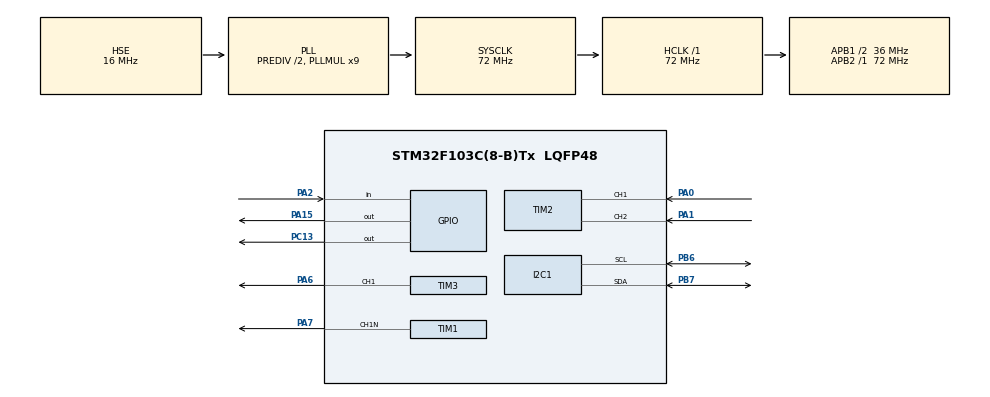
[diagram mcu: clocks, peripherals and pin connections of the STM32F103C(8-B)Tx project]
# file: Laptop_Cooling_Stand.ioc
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Dma.Request0=TIM3_CH1/TRIG
Dma.TIM3_CH1/TRIG.0.Direction=DMA_MEMORY_TO_PERIPH
Dma.TIM3_CH1/TRIG.0.Instance=DMA1_Channel6
Dma.TIM3_CH1/TRIG.0.MemDataAlignment=DMA_MDATAALIGN_HALFWORD
Dma.TIM3_CH1/TRIG.0.MemInc=DMA_MINC_ENABLE
Dma.TIM3_CH1/TRIG.0.Mode=DMA_NORMAL
Dma.TIM3_CH1/TRIG.0.PeriphDataAlignment=DMA_PDATAALIGN_HALFWORD
Dma.TIM3_CH1/TRIG.0.PeriphInc=DMA_PINC_DISABLE
Dma.TIM3_CH1/TRIG.0.Priority=DMA_PRIORITY_LOW
I2C1.I2C_Mode=I2C_Fast
Mcu.Family=STM32F1
Mcu.Name=STM32F103C(8-B)Tx
Mcu.Package=LQFP48
NVIC.DMA1_Channel6_IRQn=true\:0\:0\:false\:false\:true\:false\:true\:true
NVIC.PriorityGroup=NVIC_PRIORITYGROUP_4
NVIC.TIM1_UP_IRQn=true\:0\:0\:false\:false\:true\:true\:true\:true
NVIC.TIM3_IRQn=true\:0\:0\:false\:false\:true\:true\:true\:true
PA0-WKUP.Signal=S_TIM2_CH1_ETR
PA1.Signal=S_TIM2_CH2
PA13.Mode=Serial_Wire
PA13.Signal=SYS_JTMS-SWDIO
PA14.Mode=Serial_Wire
PA14.Signal=SYS_JTCK-SWCLK
PA15.Signal=GPIO_Output
PA2.Signal=GPIO_Input
PA6.Signal=S_TIM3_CH1
PA7.Mode=PWM Generation1 CH1N
PA7.Signal=TIM1_CH1N
PB6.GPIO_Pu=GPIO_PULLUP
PB6.Mode=I2C
PB6.Signal=I2C1_SCL
PB7.GPIO_Pu=GPIO_PULLUP
PB7.Mode=I2C
PB7.Signal=I2C1_SDA
PC13-TAMPER-RTC.Signal=GPIO_Output
PD0-OSC_IN.Mode=HSE-External-Oscillator
PD0-OSC_IN.Signal=RCC_OSC_IN
PD1-OSC_OUT.Mode=HSE-External-Oscillator
PD1-OSC_OUT.Signal=RCC_OSC_OUT
ProjectManager.HeapSize=0x200
ProjectManager.StackSize=0x400
ProjectManager.TargetToolchain=STM32CubeIDE
RCC.AHBFreq_Value=72000000
RCC.APB1CLKDivider=RCC_HCLK_DIV2
RCC.APB1Freq_Value=36000000
RCC.APB1TimFreq_Value=72000000
RCC.APB2Freq_Value=72000000
RCC.APB2TimFreq_Value=72000000
RCC.HCLKFreq_Value=72000000
RCC.HSEDivPLL=RCC_HSE_PREDIV_DIV2
RCC.HSE_VALUE=16000000
RCC.PLLMUL=RCC_PLL_MUL9
RCC.PLLSourceVirtual=RCC_PLLSOURCE_HSE
RCC.SYSCLKFreq_VALUE=72000000
RCC.SYSCLKSource=RCC_SYSCLKSOURCE_PLLCLK
RCC.USBFreq_Value=72000000
SH.S_TIM2_CH1_ETR.0=TIM2_CH1,Encoder_Interface
SH.S_TIM2_CH2.0=TIM2_CH2,Encoder_Interface
SH.S_TIM3_CH1.0=TIM3_CH1,PWM Generation1 CH1
TIM1.AutoReloadPreload=TIM_AUTORELOAD_PRELOAD_ENABLE
TIM1.Channel-PWM\ Generation1\ CH1N=TIM_CHANNEL_1
TIM1.OCNPolarity_1=TIM_OCNPOLARITY_LOW
TIM1.Period=65535
TIM1.Prescaler=0
TIM1.TIM_MasterOutputTrigger=TIM_TRGO_UPDATE
TIM2.AutoReloadPreload=TIM_AUTORELOAD_PRELOAD_ENABLE
TIM2.IC1Filter=10
TIM3.Channel-PWM\ Generation1\ CH1=TIM_CHANNEL_1
TIM3.Period=90-1
TIM3.Prescaler=0
VP_TIM1_VS_ClockSourceINT.Mode=Internal
board=custom

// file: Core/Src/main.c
/* USER CODE BEGIN Header */
/**
  ******************************************************************************
  * @file           : main.c
  * @author			: Marcus Lechner
  * @brief          : Main program body
  ******************************************************************************
  * @attention
  *
  * <h2><center>&copy; Copyright (c) 2021 STMicroelectronics.
  * All rights reserved.</center></h2>
  *
  * This software component is licensed by ST under BSD 3-Clause license,
  * the "License"; You may not use this file except in compliance with the
  * License. You may obtain a copy of the License at:
  *                        opensource.org/licenses/BSD-3-Clause
  *
  ******************************************************************************
  */
  /* NOTES
  * */

/* USER CODE END Header */
#include "main.h"

/* USER CODE BEGIN Includes */
#include <stdio.h>
#include <string.h>
#include "fonts.h"
#include "oled.h"
#include "gfx.h"
#include "HDW_ENCODER.h"
#include "ftoa.h"
#include "APP_DISPLAY.h"
#include "HDW_LED.h"
#include "HDW_FAN.h"
#include "HDW_BME280.h"
#include "SYS_TIMER.h"

/* USER CODE END Includes */

/* USER CODE BEGIN PD */
#define LED_ON 0		//for debugging purposes
#define LED_OFF 1		//for debugging purposes
#define NUM_MESSAGES 11	//number of messages we will be displaying
#define PRECISION 2		//precision for message floats
/* USER CODE END PD */

I2C_HandleTypeDef hi2c1;

TIM_HandleTypeDef htim1;
TIM_HandleTypeDef htim2;
TIM_HandleTypeDef htim3;
DMA_HandleTypeDef hdma_tim3_ch1_trig;

/* USER CODE BEGIN PV */
							//encoder counter, starts on 11 (Total Charge)
uint8_t startup = 1;							//startup function flag
uint16_t intData = 0;							//integer data from message
uint8_t batteryConnected[3] = {0,0,0};			//array of booleans if battery is connected or not, used for total charge calculation
				//for window tab functionality, denotes which tab you are on
//uint32_t elapsed_time;							//used for non interference delay
uint32_t elapsed_time_screen_refresh;			//used for refreshing screen every so often
uint32_t elapsed_time_data_refresh;     	 	//used for refreshing data every so often
uint8_t dataReceived = 0;
uint8_t customWDGflag = 0;  					//my own custom watch dog
//necessary constructor use

uint32_t TxMailbox;

uint8_t RxData[8];			//data received from CAN
uint8_t TxData[8];			//data sent from CAN
uint8_t intArray[2];		//Array that holds bytes data from the CAN message for the integer
uint8_t temp_byte[4];		//temporary Array that holds bytes data from the CAN message for the float
uint8_t current_byte[4];	//temporary Array that holds bytes data from the CAN message for the float

struct Message 			//CAN message struct
{
	char name[16];		//Name to be displayed
	char display[16];	//Message to be display
	uint32_t id;		// Message ID, for debugging use
	float data;			//data in the form a float
};

struct Message message[NUM_MESSAGES]; //initialize struct array

float totalCharge = 0;		//total charge of all batteries

uint8_t msgNum = 0;		//Used to easily add on new messages, instead of changing the number on each message just change msgNum
/* USER CODE END PV */

void SystemClock_Config(void);
static void MX_GPIO_Init(void);
static void MX_DMA_Init(void);
static void MX_I2C1_Init(void);
static void MX_TIM2_Init(void);
static void MX_TIM1_Init(void);
static void MX_TIM3_Init(void);
/* USER CODE BEGIN PFP */

float bytes2Float(uint8_t *bytes_array);	//converts bytes to float data type
uint16_t bytes2Int(uint8_t *bytes_array);	//converts bytes to integer data type

/* USER CODE END PFP */

/* USER CODE BEGIN 0 */

TIM_Encoder_InitTypeDef encoder;
TIM_HandleTypeDef timer;

//void send(int green, int red, int blue)

/* USER CODE END 0 */

int main(void)
{

  /* MCU Configuration--------------------------------------------------------*/

  /* Reset of all peripherals, Initializes the Flash interface and the Systick. */
  HAL_Init();

  /* USER CODE BEGIN Init */
  	//Message names, 16 chars MAX
	SYS_TIMER_init();

	HDW_ENCODER_Config();  // configure the encoders timer
	HDW_ENCODER_Init();

//	HDW_LED_Config();  // configure the encoders timer
	HDW_LED_Init();

	  // start the encoders timer

  /* USER CODE END Init */

  /* Configure the system clock */
  SystemClock_Config();

  /* Initialize all configured peripherals */
  MX_GPIO_Init();
  MX_DMA_Init();
  MX_I2C1_Init();
  MX_TIM2_Init();
  MX_TIM1_Init();
  MX_TIM3_Init();
  /* USER CODE BEGIN 2 */

  HAL_Delay(2500);
  BME280_Config(OSRS_2, OSRS_16, OSRS_1, MODE_NORMAL, T_SB_0p5, IIR_16);
  oled_init(); //oled init after significant delay needed because oled needs a sec to power up

  APP_DISPLAY_init();
  HDW_FAN_init();
//  HAL_TIM_Base_Start_IT(&htim1);
  HAL_TIM_PWM_Start(&htim1, TIM_CHANNEL_1);
  HAL_TIMEx_PWMN_Start(&htim1, TIM_CHANNEL_1);
//  elapsed_time = HAL_GetTick();
  elapsed_time_screen_refresh = HAL_GetTick();		//used for refreshing screen every so often
  elapsed_time_data_refresh = HAL_GetTick();

//  HAL_GPIO_WritePin(GPIOA, GPIO_PIN_15, GPIO_PIN_SET);

  /* USER CODE END 2 */

  /* Infinite loop */
  while (1)
  {

    /* USER CODE BEGIN 3 */
	HDW_ENCODER_process();
	APP_DISPLAY_process();
	HDW_FAN_process();
	HDW_LED_process();
	HDW_BME280_process();

  }
  /* USER CODE END 3 */
}

void SystemClock_Config(void)
{
  RCC_OscInitTypeDef RCC_OscInitStruct = {0};
  RCC_ClkInitTypeDef RCC_ClkInitStruct = {0};

  /** Initializes the RCC Oscillators according to the specified parameters
  * in the RCC_OscInitTypeDef structure.
  */
  RCC_OscInitStruct.OscillatorType = RCC_OSCILLATORTYPE_HSE;
  RCC_OscInitStruct.HSEState = RCC_HSE_ON;
  RCC_OscInitStruct.HSEPredivValue = RCC_HSE_PREDIV_DIV2;
  RCC_OscInitStruct.HSIState = RCC_HSI_ON;
  RCC_OscInitStruct.PLL.PLLState = RCC_PLL_ON;
  RCC_OscInitStruct.PLL.PLLSource = RCC_PLLSOURCE_HSE;
  RCC_OscInitStruct.PLL.PLLMUL = RCC_PLL_MUL9;
  if (HAL_RCC_OscConfig(&RCC_OscInitStruct) != HAL_OK)
  {
    Error_Handler();
  }

  /** Initializes the CPU, AHB and APB buses clocks
  */
  RCC_ClkInitStruct.ClockType = RCC_CLOCKTYPE_HCLK|RCC_CLOCKTYPE_SYSCLK
                              |RCC_CLOCKTYPE_PCLK1|RCC_CLOCKTYPE_PCLK2;
  RCC_ClkInitStruct.SYSCLKSource = RCC_SYSCLKSOURCE_PLLCLK;
  RCC_ClkInitStruct.AHBCLKDivider = RCC_SYSCLK_DIV1;
  RCC_ClkInitStruct.APB1CLKDivider = RCC_HCLK_DIV2;
  RCC_ClkInitStruct.APB2CLKDivider = RCC_HCLK_DIV1;

  if (HAL_RCC_ClockConfig(&RCC_ClkInitStruct, FLASH_LATENCY_2) != HAL_OK)
  {
    Error_Handler();
  }
}

static void MX_I2C1_Init(void)
{

  hi2c1.Instance = I2C1;
  hi2c1.Init.ClockSpeed = 400000;
  hi2c1.Init.DutyCycle = I2C_DUTYCYCLE_2;
  hi2c1.Init.OwnAddress1 = 0;
  hi2c1.Init.AddressingMode = I2C_ADDRESSINGMODE_7BIT;
  hi2c1.Init.DualAddressMode = I2C_DUALADDRESS_DISABLE;
  hi2c1.Init.OwnAddress2 = 0;
  hi2c1.Init.GeneralCallMode = I2C_GENERALCALL_DISABLE;
  hi2c1.Init.NoStretchMode = I2C_NOSTRETCH_DISABLE;
  if (HAL_I2C_Init(&hi2c1) != HAL_OK)
  {
    Error_Handler();
  }

}

static void MX_TIM1_Init(void)
{

  TIM_ClockConfigTypeDef sClockSourceConfig = {0};
  TIM_MasterConfigTypeDef sMasterConfig = {0};
  TIM_OC_InitTypeDef sConfigOC = {0};
  TIM_BreakDeadTimeConfigTypeDef sBreakDeadTimeConfig = {0};

  htim1.Instance = TIM1;
  htim1.Init.Prescaler = 0;
  htim1.Init.CounterMode = TIM_COUNTERMODE_UP;
  htim1.Init.Period = 65535;
  htim1.Init.ClockDivision = TIM_CLOCKDIVISION_DIV1;
  htim1.Init.RepetitionCounter = 0;
  htim1.Init.AutoReloadPreload = TIM_AUTORELOAD_PRELOAD_ENABLE;
  if (HAL_TIM_Base_Init(&htim1) != HAL_OK)
  {
    Error_Handler();
  }
  sClockSourceConfig.ClockSource = TIM_CLOCKSOURCE_INTERNAL;
  if (HAL_TIM_ConfigClockSource(&htim1, &sClockSourceConfig) != HAL_OK)
  {
    Error_Handler();
  }
  if (HAL_TIM_PWM_Init(&htim1) != HAL_OK)
  {
    Error_Handler();
  }
  sMasterConfig.MasterOutputTrigger = TIM_TRGO_UPDATE;
  sMasterConfig.MasterSlaveMode = TIM_MASTERSLAVEMODE_DISABLE;
  if (HAL_TIMEx_MasterConfigSynchronization(&htim1, &sMasterConfig) != HAL_OK)
  {
    Error_Handler();
  }
  sConfigOC.OCMode = TIM_OCMODE_PWM1;
  sConfigOC.Pulse = 0;
  sConfigOC.OCPolarity = TIM_OCPOLARITY_HIGH;
  sConfigOC.OCNPolarity = TIM_OCNPOLARITY_LOW;
  sConfigOC.OCFastMode = TIM_OCFAST_DISABLE;
  sConfigOC.OCIdleState = TIM_OCIDLESTATE_RESET;
  sConfigOC.OCNIdleState = TIM_OCNIDLESTATE_RESET;
  if (HAL_TIM_PWM_ConfigChannel(&htim1, &sConfigOC, TIM_CHANNEL_1) != HAL_OK)
  {
    Error_Handler();
  }
  sBreakDeadTimeConfig.OffStateRunMode = TIM_OSSR_DISABLE;
  sBreakDeadTimeConfig.OffStateIDLEMode = TIM_OSSI_DISABLE;
  sBreakDeadTimeConfig.LockLevel = TIM_LOCKLEVEL_OFF;
  sBreakDeadTimeConfig.DeadTime = 0;
  sBreakDeadTimeConfig.BreakState = TIM_BREAK_DISABLE;
  sBreakDeadTimeConfig.BreakPolarity = TIM_BREAKPOLARITY_HIGH;
  sBreakDeadTimeConfig.AutomaticOutput = TIM_AUTOMATICOUTPUT_DISABLE;
  if (HAL_TIMEx_ConfigBreakDeadTime(&htim1, &sBreakDeadTimeConfig) != HAL_OK)
  {
    Error_Handler();
  }
  HAL_TIM_MspPostInit(&htim1);

}

static void MX_TIM2_Init(void)
{

  TIM_Encoder_InitTypeDef sConfig = {0};
  TIM_MasterConfigTypeDef sMasterConfig = {0};

  htim2.Instance = TIM2;
  htim2.Init.Prescaler = 0;
  htim2.Init.CounterMode = TIM_COUNTERMODE_UP;
  htim2.Init.Period = 65535;
  htim2.Init.ClockDivision = TIM_CLOCKDIVISION_DIV1;
  htim2.Init.AutoReloadPreload = TIM_AUTORELOAD_PRELOAD_ENABLE;
  sConfig.EncoderMode = TIM_ENCODERMODE_TI1;
  sConfig.IC1Polarity = TIM_ICPOLARITY_RISING;
  sConfig.IC1Selection = TIM_ICSELECTION_DIRECTTI;
  sConfig.IC1Prescaler = TIM_ICPSC_DIV1;
  sConfig.IC1Filter = 10;
  sConfig.IC2Polarity = TIM_ICPOLARITY_RISING;
  sConfig.IC2Selection = TIM_ICSELECTION_DIRECTTI;
  sConfig.IC2Prescaler = TIM_ICPSC_DIV1;
  sConfig.IC2Filter = 0;
  if (HAL_TIM_Encoder_Init(&htim2, &sConfig) != HAL_OK)
  {
    Error_Handler();
  }
  sMasterConfig.MasterOutputTrigger = TIM_TRGO_RESET;
  sMasterConfig.MasterSlaveMode = TIM_MASTERSLAVEMODE_DISABLE;
  if (HAL_TIMEx_MasterConfigSynchronization(&htim2, &sMasterConfig) != HAL_OK)
  {
    Error_Handler();
  }

}

static void MX_TIM3_Init(void)
{

  TIM_MasterConfigTypeDef sMasterConfig = {0};
  TIM_OC_InitTypeDef sConfigOC = {0};

  htim3.Instance = TIM3;
  htim3.Init.Prescaler = 0;
  htim3.Init.CounterMode = TIM_COUNTERMODE_UP;
  htim3.Init.Period = 90-1;
  htim3.Init.ClockDivision = TIM_CLOCKDIVISION_DIV1;
  htim3.Init.AutoReloadPreload = TIM_AUTORELOAD_PRELOAD_DISABLE;
  if (HAL_TIM_PWM_Init(&htim3) != HAL_OK)
  {
    Error_Handler();
  }
  sMasterConfig.MasterOutputTrigger = TIM_TRGO_RESET;
  sMasterConfig.MasterSlaveMode = TIM_MASTERSLAVEMODE_DISABLE;
  if (HAL_TIMEx_MasterConfigSynchronization(&htim3, &sMasterConfig) != HAL_OK)
  {
    Error_Handler();
  }
  sConfigOC.OCMode = TIM_OCMODE_PWM1;
  sConfigOC.Pulse = 0;
  sConfigOC.OCPolarity = TIM_OCPOLARITY_HIGH;
  sConfigOC.OCFastMode = TIM_OCFAST_DISABLE;
  if (HAL_TIM_PWM_ConfigChannel(&htim3, &sConfigOC, TIM_CHANNEL_1) != HAL_OK)
  {
    Error_Handler();
  }
  HAL_TIM_MspPostInit(&htim3);

}

static void MX_DMA_Init(void)
{

  /* DMA controller clock enable */
  __HAL_RCC_DMA1_CLK_ENABLE();

  /* DMA interrupt init */
  /* DMA1_Channel6_IRQn interrupt configuration */
  HAL_NVIC_SetPriority(DMA1_Channel6_IRQn, 0, 0);
  HAL_NVIC_EnableIRQ(DMA1_Channel6_IRQn);

}

static void MX_GPIO_Init(void)
{
  GPIO_InitTypeDef GPIO_InitStruct = {0};

  /* GPIO Ports Clock Enable */
  __HAL_RCC_GPIOC_CLK_ENABLE();
  __HAL_RCC_GPIOD_CLK_ENABLE();
  __HAL_RCC_GPIOA_CLK_ENABLE();
  __HAL_RCC_GPIOB_CLK_ENABLE();

  /*Configure GPIO pin Output Level */
  HAL_GPIO_WritePin(GPIOC, GPIO_PIN_13, GPIO_PIN_RESET);

  /*Configure GPIO pin Output Level */
  HAL_GPIO_WritePin(GPIOA, GPIO_PIN_15, GPIO_PIN_RESET);

  /*Configure GPIO pin : PC13 */
  GPIO_InitStruct.Pin = GPIO_PIN_13;
  GPIO_InitStruct.Mode = GPIO_MODE_OUTPUT_PP;
  GPIO_InitStruct.Pull = GPIO_NOPULL;
  GPIO_InitStruct.Speed = GPIO_SPEED_FREQ_LOW;
  HAL_GPIO_Init(GPIOC, &GPIO_InitStruct);

  /*Configure GPIO pin : PA2 */
  GPIO_InitStruct.Pin = GPIO_PIN_2;
  GPIO_InitStruct.Mode = GPIO_MODE_INPUT;
  GPIO_InitStruct.Pull = GPIO_NOPULL;
  HAL_GPIO_Init(GPIOA, &GPIO_InitStruct);

  /*Configure GPIO pin : PA15 */
  GPIO_InitStruct.Pin = GPIO_PIN_15;
  GPIO_InitStruct.Mode = GPIO_MODE_OUTPUT_PP;
  GPIO_InitStruct.Pull = GPIO_NOPULL;
  GPIO_InitStruct.Speed = GPIO_SPEED_FREQ_LOW;
  HAL_GPIO_Init(GPIOA, &GPIO_InitStruct);

}

/* USER CODE BEGIN 4 */

float bytes2Float(uint8_t *bytes_array) //converts bytes to float data type
{
	union //uses a union that occupies the same memory space
	{
		float f;
		uint8_t b[4];
	} u;

	for(int i = 0; i < 4; i++)
	{
		u.b[i] = bytes_array[i];
	}

	return u.f;
}

uint16_t bytes2Int(uint8_t *bytes_array) //converts bytes to integer data type
{
	uint16_t newInt = bytes_array[1] + (bytes_array[0] << 8);
	return newInt;
}

/* USER CODE END 4 */

void Error_Handler(void)
{
  __disable_irq();
  while (1)
  {
  }
}
